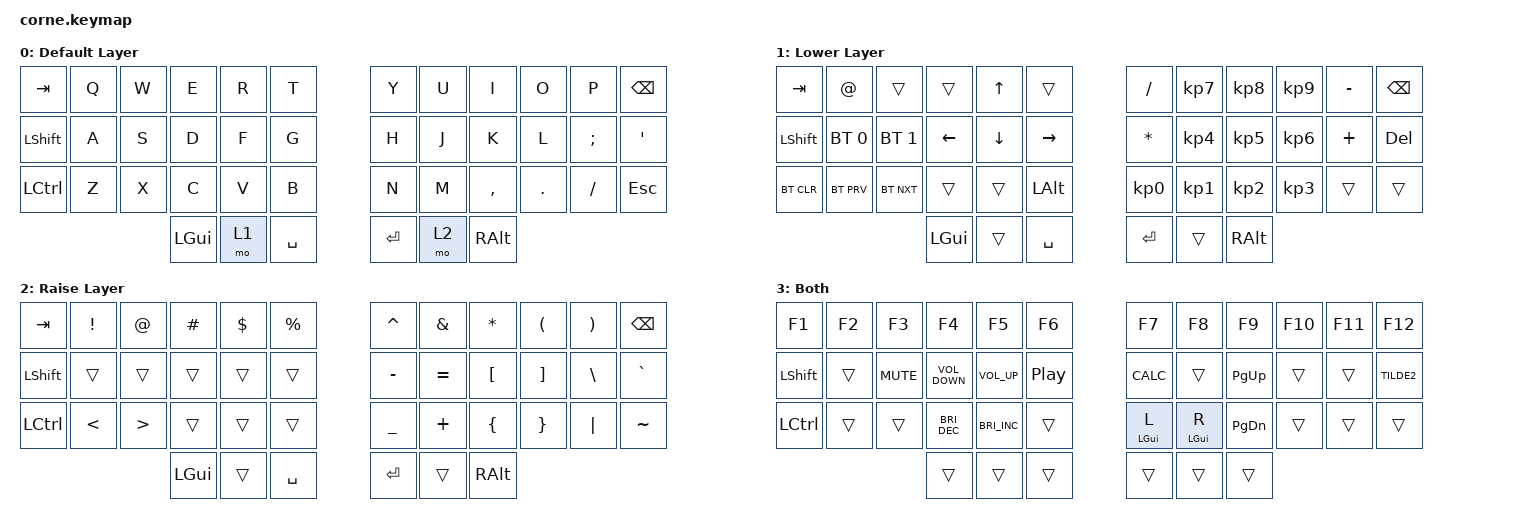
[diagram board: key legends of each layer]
/*
 * Copyright (c) 2020 The ZMK Contributors
 *
 * SPDX-License-Identifier: MIT
 */

#include <behaviors.dtsi>
#include <dt-bindings/zmk/bt.h>
#include <dt-bindings/zmk/keys.h>

/ {
    combos {
        compatible = "zmk,combos";

        Layer3 {
            bindings = <&mo 3>;
            key-positions = <37 40>;
        };

        Delete {
            bindings = <&kp DEL>;
            key-positions = <32 33>;
        };

        backSpace {
            bindings = <&kp BACKSPACE>;
            key-positions = <8 9>;
        };

        softOff {
            bindings = <&soft_off>;
            key-positions = <0 11 35 38>;
        };

        Layer3Left {
            bindings = <&mo 3>;
            key-positions = <37 26 25>;
        };

        Leyer3Right {
            bindings = <&mo 3>;
            key-positions = <40 33 34>;
        };

        Layer2Left {
            bindings = <&mo 2>;
            key-positions = <37 27 28>;
        };

        Leyer1Right {
            bindings = <&mo 1>;
            key-positions = <40 34 35>;
        };
    };

    keymap {
        compatible = "zmk,keymap";

        default_layer {
            display-name = "Default Layer";

            // -----------------------------------------------------------------------------------------
            // |  TAB |  Q  |  W  |  E  |  R  |  T  |   |  Y  |  U   |  I  |  O  |  P  | BSPC |
            // | CTRL |  A  |  S  |  D  |  F  |  G  |   |  H  |  J   |  K  |  L  |  ;  |  '   |
            // | SHFT |  Z  |  X  |  C  |  V  |  B  |   |  N  |  M   |  ,  |  .  |  /  | ESC  |
            //                    | GUI | LWR | SPC |   | ENT | RSE  | ALT |

            bindings = <
&kp TAB         &kp Q  &kp W  &kp E     &kp R  &kp T        &kp Y    &kp U  &kp I      &kp O    &kp P     &kp BSPC
&kp LEFT_SHIFT  &kp A  &kp S  &kp D     &kp F  &kp G        &kp H    &kp J  &kp K      &kp L    &kp SEMI  &kp SQT
&kp LCTRL       &kp Z  &kp X  &kp C     &kp V  &kp B        &kp N    &kp M  &kp COMMA  &kp DOT  &kp FSLH  &kp ESC
                              &kp LGUI  &mo 1  &kp SPACE    &kp RET  &mo 2  &kp RALT
            >;
        };

        lower_layer {
            display-name = "Lower Layer";

            // -----------------------------------------------------------------------------------------
            // |  TAB |  1  |  2  |  3  |  4  |  5  |   |  6  |  7  |  8  |  9  |  0  | BSPC |
            // | BTCLR| BT1 | BT2 | BT3 | BT4 | BT5 |   | LFT | DWN |  UP | RGT |     |      |
            // | SHFT |     |     |     |     |     |   |     |     |     |     |     |      |
            //                    | GUI |     | SPC |   | ENT |     | ALT |

            bindings = <
&kp TAB         &kp AT_SIGN   &trans        &trans          &kp UP_ARROW  &trans             &kp SLASH        &kp KP_NUMBER_7  &kp KP_NUMBER_8  &kp KP_NUMBER_9  &kp MINUS  &kp BSPC
&kp LEFT_SHIFT  &bt BT_SEL 0  &bt BT_SEL 1  &kp LEFT_ARROW  &kp DOWN      &kp RIGHT_ARROW    &kp ASTERISK     &kp KP_NUMBER_4  &kp KP_NUMBER_5  &kp KP_NUMBER_6  &kp PLUS   &kp DELETE
&bt BT_CLR      &bt BT_PRV    &bt BT_NXT    &trans          &trans        &kp LEFT_ALT       &kp KP_NUMBER_0  &kp KP_NUMBER_1  &kp KP_NUMBER_2  &kp KP_NUMBER_3  &trans     &trans
                                            &kp LGUI        &trans        &kp SPACE          &kp RET          &trans           &kp RALT
            >;
        };

        raise_layer {
            display-name = "Raise Layer";

            // -----------------------------------------------------------------------------------------
            // |  TAB |  !  |  @  |  #  |  $  |  %  |   |  ^  |  &  |  *  |  (  |  )  | BSPC |
            // | CTRL |     |     |     |     |     |   |  -  |  =  |  [  |  ]  |  \  |  `   |
            // | SHFT |     |     |     |     |     |   |  _  |  +  |  {  |  }  | "|" |  ~   |
            //                    | GUI |     | SPC |   | ENT |     | ALT |

            bindings = <
&kp TAB         &kp EXCL       &kp AT            &kp HASH  &kp DLLR  &kp PRCNT    &kp CARET  &kp AMPS   &kp ASTRK  &kp LPAR  &kp RPAR  &kp BSPC
&kp LEFT_SHIFT  &trans         &trans            &trans    &trans    &trans       &kp MINUS  &kp EQUAL  &kp LBKT   &kp RBKT  &kp BSLH  &kp GRAVE
&kp LCTRL       &kp LESS_THAN  &kp GREATER_THAN  &trans    &trans    &trans       &kp UNDER  &kp PLUS   &kp LBRC   &kp RBRC  &kp PIPE  &kp TILDE
                                                 &kp LGUI  &trans    &kp SPACE    &kp RET    &trans     &kp RALT
            >;
        };

        Both {
            bindings = <
&kp F1          &kp F2  &kp F3      &kp F4                &kp F5                &kp F6              &kp F7          &kp F8          &kp F9         &kp F10  &kp F11  &kp F12
&kp LEFT_SHIFT  &trans  &kp K_MUTE  &kp C_VOLUME_DOWN     &kp C_VOL_UP          &kp C_PLAY_PAUSE    &kp K_CALC      &trans          &kp PG_UP      &trans   &trans   &kp TILDE2
&kp LCTRL       &trans  &trans      &kp C_BRIGHTNESS_DEC  &kp C_BRIGHTNESS_INC  &trans              &mt LEFT_GUI L  &mt LEFT_GUI R  &kp PAGE_DOWN  &trans   &trans   &trans
                                    &trans                &trans                &trans              &trans          &trans          &trans
            >;
        };
    };
};
